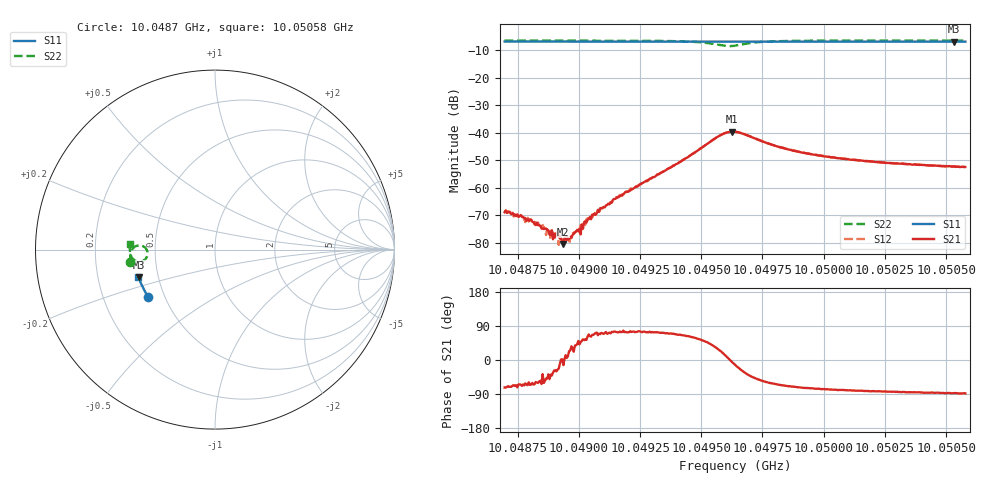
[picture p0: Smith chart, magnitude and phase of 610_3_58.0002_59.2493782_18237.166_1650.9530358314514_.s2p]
#  HZ  S  RI  R  50.00
! Rohde & Schwarz Vector Network Analyzer
! Rohde-Schwarz,ZNB20-2Port,1311601062101988,3.16
! Created: UTC 3/21/2024, 1:17:42 AM
! freq[Hz]  re:S11  im:S11  re:S21  im:S21  re:S12  im:S12  re:S22  im:S22
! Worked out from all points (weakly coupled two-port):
!   401 points, 10.0487 GHz to 10.05058 GHz, reference 50 ohm
!   highest |S21| = -39.61 dB at 10.04962 GHz (marker M1); lowest = -80.5 dB at 10.04894 GHz (marker M2)
!   lowest |S11| = -6.9 dB at 10.05053 GHz (marker M3), VSWR 2.65, Z = 19.3 - j7.51 ohm
!   |S11| at or under -10 dB: nowhere
!   |S22| runs from -8.5 to -6.4 dB; largest |S21 - S12| = 0.00078
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1.0048697e10  -0.3728 -0.2618  0.000107 -0.000341  0.000141 -0.000339  -0.4711 -0.0718
1.00488e10  -0.3765 -0.2563  0.00011 -0.000242  0.000132 -0.000217  -0.4719 -0.0639
1.0048852e10  -0.3783 -0.2533  0.000142 -0.000108  0.000131 -0.00016  -0.4721 -0.0598
1.0048894e10  -0.3799 -0.2507  9.59e-05 -6.37e-05  0.000132 -7.72e-05  -0.4724 -0.0562
1.0048904e10  -0.38 -0.2503  0.000113 -5.73e-05  0.000127 -6.98e-05  -0.4725 -0.0555
1.0048918e10  -0.3806 -0.2496  0.000125 -5.23e-05  8.56e-05 -3.07e-05  -0.4724 -0.0543
1.0048927e10  -0.381 -0.2491  0.000118 3.38e-06  0.000119 -1.27e-06  -0.4725 -0.0536
1.0048937e10  -0.3812 -0.2485  9.16e-05 -2.21e-05  8.34e-05 2.2e-05  -0.4726 -0.0528
1.0048956e10  -0.382 -0.2475  0.000112 2.04e-05  0.000117 3.05e-05  -0.4727 -0.0514
1.0049012e10  -0.3838 -0.2443  0.000136 0.000166  0.000111 0.000141  -0.4727 -0.0465
1.0049031e10  -0.3844 -0.2433  0.000139 0.000184  0.000129 0.000228  -0.4725 -0.0446
1.0049054e10  -0.3853 -0.2418  0.00013 0.000295  0.000122 0.000259  -0.4726 -0.0426
1.0049149e10  -0.3884 -0.2365  0.000164 0.000604  0.000139 0.000606  -0.4722 -0.0334
1.0049327e10  -0.3939 -0.2261  0.000527 0.00169  0.000453 0.0017  -0.4676 -0.0117
1.0049572e10  -0.4008 -0.2115  0.00776 0.00392  0.00747 0.00445  -0.3955 0.0158
1.0049624e10  -0.4019 -0.2089  0.0104 -0.000735  0.0104 2.94e-05  -0.376 -0.0291
1.0049638e10  -0.4022 -0.2082  0.0101 -0.00226  0.0103 -0.00152  -0.3806 -0.0429
1.0049817e10  -0.4081 -0.1979  0.00229 -0.00499  0.00265 -0.0049  -0.4605 -0.0475
1.0049953e10  -0.4117 -0.1897  0.00105 -0.00388  0.00133 -0.00384  -0.471 -0.026
1.0050269e10  -0.4196 -0.1707  0.000324 -0.00279  0.000457 -0.00278  -0.4754 0.00634
1.0050532e10  -0.4253 -0.1543  0.000119 -0.0024  0.000239 -0.00242  -0.4749 0.0276
1.0050579e10  -0.4265 -0.1513  7.77e-05 -0.00238  0.000219 -0.00238  -0.475 0.0309
